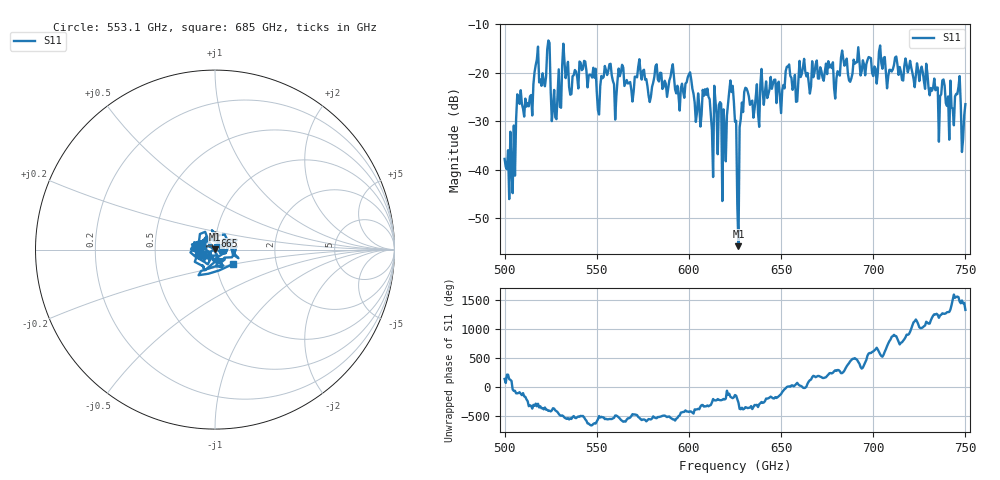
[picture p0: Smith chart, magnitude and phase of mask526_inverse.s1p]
!Created with skrf (http://scikit-rf.org).
# GHz S MA R 50.0
!freq magS11 angS11
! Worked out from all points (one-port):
!   401 points, 500 GHz to 750 GHz, reference 50 ohm
!   lowest |S11| = -55.8 dB at 626.9 GHz (marker M1), VSWR 1.00, Z = 50 + j0.162 ohm
!   |S11| at or under -10 dB: start of sweep to end of sweep
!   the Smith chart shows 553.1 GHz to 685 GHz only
!   S11 on the Smith chart (normalised r, x): 553.1 GHz: 0.84, -0.04; 665 GHz: 0.98, +0.16; 685 GHz: 1.21, -0.20
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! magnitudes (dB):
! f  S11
! 500 GHz  -37.8
! 503.1 GHz  -32.2
! 507.5 GHz  -25.0
! 513.8 GHz  -24.9
! 516.9 GHz  -18.4
! 523.8 GHz  -13.3
! 526.9 GHz  -23.5
! 531.2 GHz  -18.3
! 553.1 GHz  -21.1
! 562.5 GHz  -20.7
! 590.6 GHz  -19.4
! 593.8 GHz  -22.7
! 610 GHz  -23.3
! 611.9 GHz  -28.7
! 615 GHz  -28.5
! 619.4 GHz  -31.1
! 623.1 GHz  -24.0
! 625 GHz  -30.1
! 625.6 GHz  -29.9
! 626.9 GHz  -55.8
! 628.8 GHz  -26.2
! 631.2 GHz  -23.2
! 656.2 GHz  -23.5
! 665 GHz  -22.1
! 685 GHz  -17.8
! 687.5 GHz  -21.9
! 718.8 GHz  -19.9
! 750 GHz  -26.5
